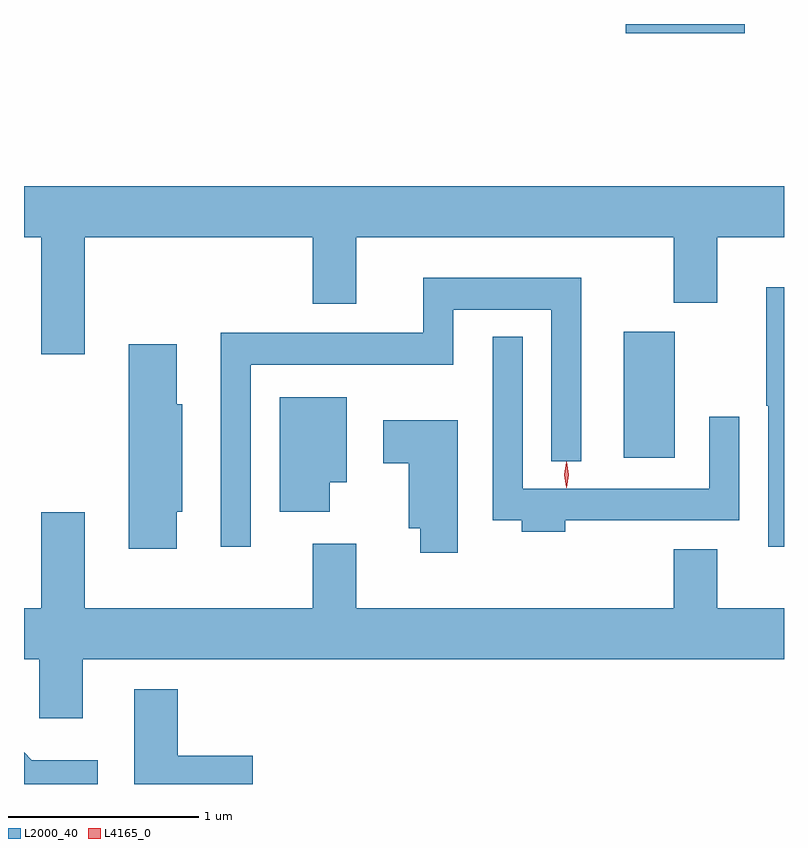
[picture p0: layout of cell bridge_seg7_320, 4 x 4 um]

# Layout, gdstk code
import gdstk
lib = gdstk.Library(unit=1e-6, precision=1e-09)
def R(c, l, rs):  # rectangles x0, y0, x1, y1
    for r in rs: c.add(gdstk.rectangle(r[:2], r[2:], *l))
def P(c, l, *ps):  # polygons
    for p in ps: c.add(gdstk.Polygon(p, *l))
L2000_40 = (2000, 40)
L4165_0 = (4165, 0)

bridge_seg7_320 = lib.new_cell('bridge_seg7_320')
R(bridge_seg7_320, L2000_40, [(1151.356,1766.436,1151.624,1767.099), (1151.366,1768.671,1151.994,1768.719)])
P(bridge_seg7_320, L2000_40, [(1148.519,1767.596),(1149.721,1767.596),(1149.721,1767.246),(1149.949,1767.246),(1149.949,1767.596),(1151.621,1767.596),(1151.621,1767.251),(1151.849,1767.251),(1151.849,1767.596),(1152.2,1767.596),(1152.2,1767.864),(1148.2,1767.864),(1148.2,1767.596),(1148.291,1767.596),(1148.291,1766.981),(1148.519,1766.981)],
  [(1149.394,1766.926),(1150.459,1766.926),(1150.459,1767.216),(1150.976,1767.216),(1150.976,1766.418),(1151.134,1766.418),(1151.134,1767.384),(1150.301,1767.384),(1150.301,1767.094),(1149.236,1767.094),(1149.236,1765.968),(1149.394,1765.968)],
  [(1152.2,1767.334),(1152.106,1767.334),(1152.106,1766.71),(1152.116,1766.71),(1152.116,1765.968),(1152.2,1765.968)],
  [(1151.049,1766.106),(1151.964,1766.106),(1151.964,1766.653),(1151.806,1766.653),(1151.806,1766.274),(1150.824,1766.274),(1150.824,1767.073),(1150.666,1767.073),(1150.666,1766.106),(1150.821,1766.106),(1150.821,1766.046),(1151.049,1766.046)],
  [(1149.004,1766.151),(1149.034,1766.151),(1149.034,1766.719),(1149.004,1766.719),(1149.004,1767.034),(1148.751,1767.034),(1148.751,1765.956),(1149.004,1765.956)],
  [(1149.809,1766.306),(1149.899,1766.306),(1149.899,1766.754),(1149.546,1766.754),(1149.546,1766.151),(1149.809,1766.151)],
  [(1150.484,1766.634),(1150.091,1766.634),(1150.091,1766.406),(1150.226,1766.406),(1150.226,1766.066),(1150.286,1766.066),(1150.286,1765.936),(1150.484,1765.936)],
  [(1148.509,1765.376),(1152.2,1765.376),(1152.2,1765.644),(1151.849,1765.644),(1151.849,1765.954),(1151.621,1765.954),(1151.621,1765.644),(1149.949,1765.644),(1149.949,1765.984),(1149.721,1765.984),(1149.721,1765.644),(1148.519,1765.644),(1148.519,1766.149),(1148.291,1766.149),(1148.291,1765.644),(1148.2,1765.644),(1148.2,1765.376),(1148.281,1765.376),(1148.281,1765.066),(1148.509,1765.066)],
  [(1149.404,1764.869),(1149.009,1764.869),(1149.009,1765.219),(1148.781,1765.219),(1148.781,1764.719),(1149.404,1764.719)],
  [(1148.589,1764.844),(1148.242,1764.844),(1148.2,1764.886),(1148.2,1764.719),(1148.589,1764.719)])
P(bridge_seg7_320, L4165_0, [(1151.056,1766.277),(1151.055,1766.278),(1151.046,1766.347),(1151.055,1766.416),(1151.056,1766.416),(1151.056,1766.416),(1151.066,1766.347),(1151.056,1766.278)],
  [(1151.053,1766.28),(1151.044,1766.346),(1151.053,1766.412),(1151.054,1766.413),(1151.054,1766.412),(1151.064,1766.346),(1151.054,1766.28),(1151.054,1766.28)])

lib.write_gds('bridge_seg7_320.gds')
